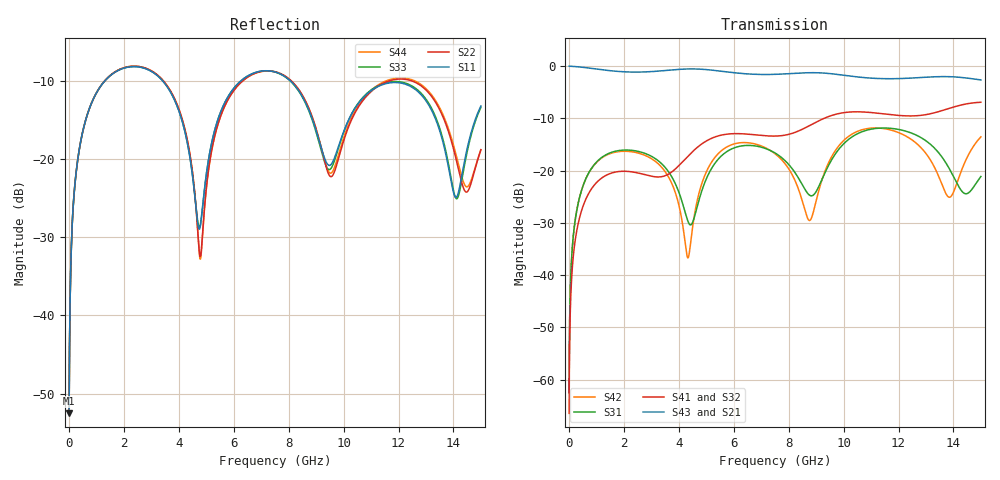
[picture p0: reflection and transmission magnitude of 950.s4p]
! Created with skrf 1.8.0 (http://scikit-rf.org).
# GHz S RI R 50.0
!freq ReS11 ImS11 ReS12 ImS12 ReS13 ImS13
! ReS14 ImS14
! ReS21 ImS21 ReS22 ImS22 ReS23 ImS23
! ReS24 ImS24
! ReS31 ImS31 ReS32 ImS32 ReS33 ImS33
! ReS34 ImS34
! ReS41 ImS41 ReS42 ImS42 ReS43 ImS43
! ReS44 ImS44
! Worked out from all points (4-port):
!   2499 points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, 5 MHz to 15 GHz, reference 50 ohm
!   strongest paths, dB at 5 MHz, 3.476 GHz, 7.19 GHz, 11.1 GHz, 15 GHz:
!     S43: 0.0, -0.9, -1.6, -2.3, -2.6
!     S21: 0.0, -0.9, -1.6, -2.3, -2.6
!     S41: -66.4, -21.0, -13.3, -8.9, -6.9
!     S32: -66.4, -21.0, -13.4, -8.9, -6.9
!     S31: -62.5, -19.2, -15.8, -12.0, -21.1
!     S42: -62.5, -20.0, -15.7, -11.8, -13.5
!   lowest |S11| = -52.5 dB at 5 MHz (marker M1), VSWR 1.00, Z = 50.2 + j0.144 ohm
!   |S11| at or under -10 dB: start of sweep to 1.296 GHz; 3.422 GHz to 6.249 GHz (2.826 GHz wide, 58.4 % of centre); 8.074 GHz to end of sweep
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0.005  0.00188 0.00143  0.9981 -0.00366  9.54e-05 0.000744  -9.25e-05 -0.000467
       0.9981 -0.00366  0.00188 0.00143  -9.25e-05 -0.000467  9.52e-05 0.000744
       9.54e-05 0.000744  -9.25e-05 -0.000467  0.00188 0.00143  0.9981 -0.00366
       -9.25e-05 -0.000467  9.52e-05 0.000744  0.9981 -0.00366  0.00188 0.00143
0.3126303  0.0303 0.0928  0.9584 -0.2265  0.0145 0.0433  -0.0118 -0.0267
           0.9584 -0.2265  0.0304 0.0928  -0.0118 -0.0267  0.0138 0.0435
           0.0145 0.0433  -0.0118 -0.0267  0.0303 0.0928  0.9584 -0.2266
           -0.0118 -0.0267  0.0138 0.0435  0.9584 -0.2266  0.0304 0.0928
1.469362  0.2954 0.167  0.4899 -0.7612  0.139 0.0474  -0.093 0.00358
          0.4899 -0.7612  0.2977 0.1652  -0.093 0.00355  0.1326 0.0575
          0.139 0.0474  -0.093 0.00355  0.2954 0.1671  0.4899 -0.7612
          -0.093 0.00358  0.1326 0.0575  0.4899 -0.7612  0.2977 0.1652
4.783243  0.0363 0.00866  -0.9333 -0.0471  -0.0156 0.0556  -0.00376 0.1758
          -0.9333 -0.0471  0.0238 -0.000492  -0.00391 0.1758  0.0286 0.0613
          -0.0156 0.0556  -0.00391 0.1758  0.0372 0.00841  -0.9333 -0.0471
          -0.00376 0.1758  0.0286 0.0613  -0.9333 -0.0471  0.0229 -0.000799
7.146728  0.3687 0.00873  -0.1127 0.8229  0.1482 -0.0682  0.2124 -0.036
          -0.1127 0.8229  0.3678 0.0121  0.2119 -0.0352  0.1518 -0.0668
          0.1482 -0.0682  0.2119 -0.0352  0.3686 0.00571  -0.1124 0.8231
          0.2124 -0.036  0.1518 -0.0668  -0.1124 0.8231  0.3668 0.0148
9.804085  0.1105 0.0452  0.8302 -0.0233  0.0319 0.1541  -0.0321 -0.349
          0.8302 -0.0233  0.0918 0.0384  -0.0303 -0.35  0.0521 0.1614
          0.0319 0.1541  -0.0303 -0.35  0.1061 0.0489  0.8299 -0.025
          -0.0321 -0.349  0.0521 0.1614  0.8299 -0.025  0.0969 0.0413
15  0.1524 0.1579  -0.7244 0.1362  0.0268 0.0836  0.1189 0.4347
    -0.7244 0.1362  0.0965 0.0624  0.1172 0.4359  0.2018 0.0594
    0.0268 0.0836  0.1172 0.4359  0.1487 0.1554  -0.7246 0.1369
    0.1189 0.4347  0.2018 0.0594  -0.7246 0.1369  0.0996 0.0582
